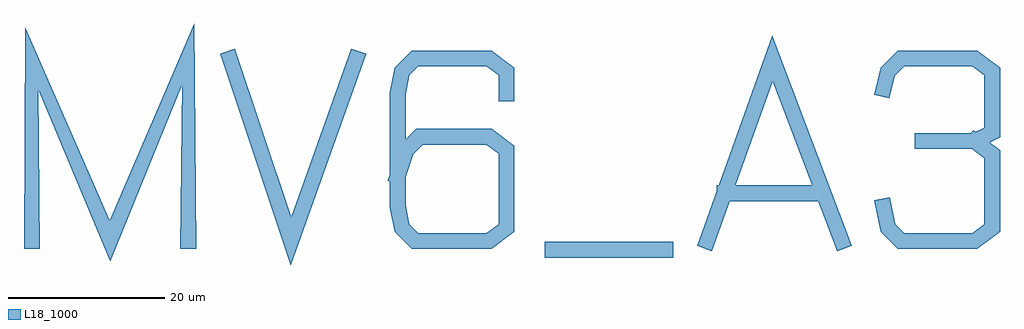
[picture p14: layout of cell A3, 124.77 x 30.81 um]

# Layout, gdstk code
import gdstk
lib = gdstk.Library(unit=1e-6, precision=1e-09)
L18_1000 = (18, 1000)

c_a3 = lib.new_cell('A3')
c_a3.add(gdstk.FlexPath([(-480.012,-306.995),(-480.012,-283.662),(-470.012,-306.995),(-460.012,-283.107),(-460.012,-306.995)], 2, ends="extended", simple_path=True, layer=18, datatype=1000))  # L18_1000
c_a3.add(gdstk.FlexPath([(-454.679,-283.662),(-446.902,-306.995),(-438.568,-283.662)], 2, ends="extended", simple_path=True, layer=18, datatype=1000))  # L18_1000
c_a3.add(gdstk.FlexPath([(-419.347,-288.107),(-419.347,-285.329),(-421.569,-283.662),(-431.013,-283.662),(-432.68,-285.329),(-433.235,-288.107),(-433.235,-302.551),(-432.68,-305.329),(-431.013,-306.995),(-421.569,-306.995),(-419.347,-305.329),(-419.347,-295.329),(-421.569,-293.662),(-430.458,-293.662),(-432.124,-295.329),(-433.235,-298.662)], 2, ends="extended", simple_path=True, layer=18, datatype=1000))  # L18_1000
c_a3.add(gdstk.FlexPath([(-413.458,-308.106),(-399.014,-308.106)], 2, ends="extended", simple_path=True, layer=18, datatype=1000))  # L18_1000
c_a3.add(gdstk.FlexPath([(-393.681,-306.995),(-385.348,-283.662),(-376.459,-306.995)], 2, ends="extended", simple_path=True, layer=18, datatype=1000))  # L18_1000
c_a3.add(gdstk.FlexPath([(-379.237,-300.884),(-391.459,-300.884)], 2, ends="extended", simple_path=True, layer=18, datatype=1000))  # L18_1000
c_a3.add(gdstk.FlexPath([(-371.126,-287.551),(-370.571,-285.329),(-368.904,-283.662),(-359.46,-283.662),(-357.238,-285.329),(-357.238,-293.107),(-359.46,-294.218),(-366.126,-294.218)], 2, ends="extended", simple_path=True, layer=18, datatype=1000))  # L18_1000
c_a3.add(gdstk.FlexPath([(-359.46,-294.218),(-357.238,-295.884),(-357.238,-305.329),(-359.46,-306.995),(-368.904,-306.995),(-370.571,-305.329),(-371.126,-302.551)], 2, ends="extended", simple_path=True, layer=18, datatype=1000))  # L18_1000

lib.write_gds('A3.gds')
